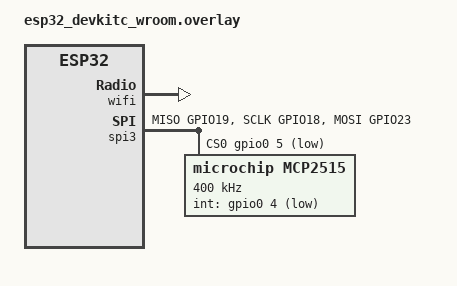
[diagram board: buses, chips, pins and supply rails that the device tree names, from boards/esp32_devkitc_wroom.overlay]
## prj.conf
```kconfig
# Copyright (c) The ThingSet Project Contributors
# SPDX-License-Identifier: Apache-2.0

CONFIG_LOG=y
CONFIG_LOG_MODE_MINIMAL=y

# ThingSet library
CONFIG_THINGSET=y
CONFIG_THINGSET_LOG_LEVEL_DBG=y

# ThingSet SDK
CONFIG_THINGSET_SDK=y
CONFIG_THINGSET_REPORTING_LIVE_PERIOD_PRESET=10

CONFIG_SHELL=y
# Avoid conflicts with ThingSet ? command
CONFIG_SHELL_WILDCARD=n
# Support `select thingset` to run ThingSet requests directly
CONFIG_SHELL_CMDS_SELECT=y

CONFIG_THINGSET_SHELL=y
CONFIG_THINGSET_SHELL_REPORTING=n

CONFIG_CBPRINTF_FP_SUPPORT=y
```

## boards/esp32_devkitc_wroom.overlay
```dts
&pinctrl {

	spim3_default: spim3_default {
		group1 {
			pinmux = <SPIM3_MISO_GPIO19>,
				 <SPIM3_SCLK_GPIO18>;
		};
		group2 {
			pinmux = <SPIM3_MOSI_GPIO23>;
			output-low;
		};
	};
};

&wifi {
	status = "okay";
};

&spi3 {
	status = "okay";
	pinctrl-0 = <&spim3_default>;
	cs-gpios = <&gpio0 5 GPIO_ACTIVE_LOW>;

	mcp2515: mcp2515@0 {
		compatible = "microchip,mcp2515";
		spi-max-frequency = <400000>;
		int-gpios = <&gpio0 4 GPIO_ACTIVE_LOW>;
		status = "okay";
		reg = <0x0>;
		osc-freq = <10000000>;
		bus-speed = <500000>;
		sjw = <1>;
		sample-point = <875>;

		can-transceiver {
			max-bitrate = <1000000>;
		};
	};
};

/ {
	chosen {
		zephyr,canbus = &mcp2515;
	};


};
```

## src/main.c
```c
/*
 * Copyright (c) The ThingSet Project Contributors
 *
 * SPDX-License-Identifier: Apache-2.0
 */

#include <zephyr/kernel.h>
#include <zephyr/sys/byteorder.h>

#include "thingset/can.h"
#include "thingset/sdk.h"

static uint32_t counter;
static float pi = 3.14F;

#define APP_ID_SAMPLE          0x05
#define APP_ID_SAMPLE_RCOUNTER 0x050
#define APP_ID_SAMPLE_WCOUNTER 0x051
#define APP_ID_SAMPLE_CPI      0x052

THINGSET_ADD_GROUP(TS_ID_ROOT, APP_ID_SAMPLE, "Sample", THINGSET_NO_CALLBACK);

THINGSET_ADD_ITEM_UINT32(APP_ID_SAMPLE, APP_ID_SAMPLE_RCOUNTER, "rCounter", &counter,
                         THINGSET_ANY_R, TS_SUBSET_LIVE | TS_SUBSET_SUMMARY);

THINGSET_ADD_ITEM_UINT32(APP_ID_SAMPLE, APP_ID_SAMPLE_WCOUNTER, "wCounter", &counter,
                         THINGSET_ANY_RW, TS_SUBSET_LIVE | TS_SUBSET_SUMMARY);

THINGSET_ADD_ITEM_FLOAT(APP_ID_SAMPLE, APP_ID_SAMPLE_CPI, "cPi", &pi, 2, THINGSET_ANY_R,
                        TS_SUBSET_LIVE | TS_SUBSET_SUMMARY);

static void report_rx_callback(uint16_t data_id, const uint8_t *value, size_t value_len,
                               uint8_t source_addr)
{
    printf("data_id 0x%X src_addr 0x%X length %u raw ", data_id, source_addr, value_len);
    for (size_t i = 0; i < value_len; i++) {
        printf("%02x", *(value + i));
        if (i == 0 && value_len != 1) {
            printf(" ");
        }
    }

    printf(" ");

    struct thingset_data_object *obj = NULL;
    while ((obj = thingset_iterate_subsets(&ts, TS_SUBSET_LIVE, obj)) != NULL) {
        if (data_id == obj->id) {
            break;
        }
        obj++;
    }

    printf("type %u ", obj->type);

    if (obj->type == THINGSET_TYPE_U32) {
        size_t offset = 0;
        if (value_len > 1) {
            offset++;
        }
        uint32_t tmp = sys_be32_to_cpu(*(uint32_t *)(value + offset)
                                       << ((sizeof(uint32_t) - (value_len - offset)) * 8));
        printf("value %u\n", tmp);
    }
    else if (obj->type == THINGSET_TYPE_F32) {
        uint32_t tmp = sys_be32_to_cpu(*(uint32_t *)(value + 1));
        printf("value %0.2f\n", *(float *)&tmp);
    }
    else {
        printf("not supported!\n");
    }
}

int main(void)
{
    thingset_can_set_report_rx_callback(report_rx_callback);

    while (true) {
        counter++;
        k_sleep(K_SECONDS(1));
    }

    return 0;
}
```
